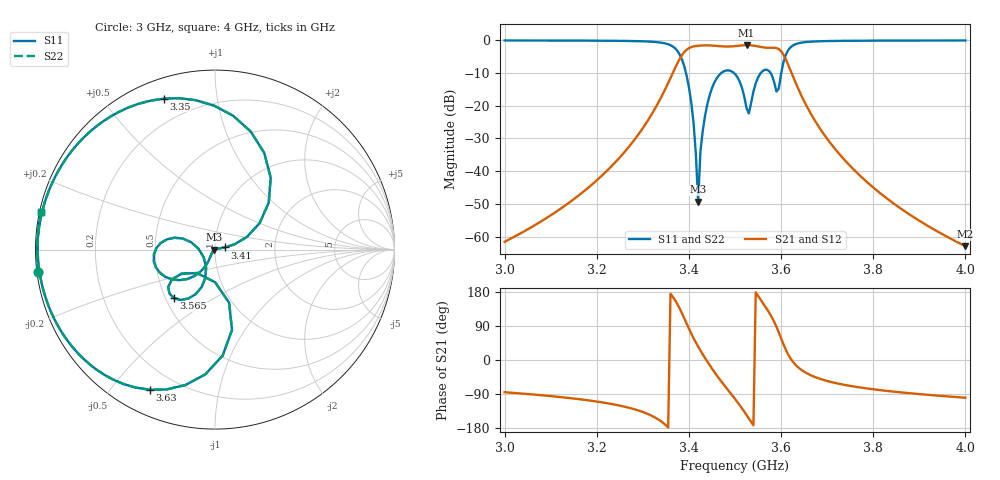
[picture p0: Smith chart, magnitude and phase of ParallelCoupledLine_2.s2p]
! Created Friday, September 24, 2021 9:24:54 PM
# GHz S DB R 50
! 2 Port Network Data from SP1.SP block
! freq  dbS11	angS11	dbS21	angS21	dbS12	angS12	dbS22	angS22
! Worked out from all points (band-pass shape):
!   201 points, 3 GHz to 4 GHz, reference 50 ohm
!   highest |S21| = -1.50 dB at 3.525 GHz (marker M1); lowest = -62.9 dB at 4 GHz (marker M2)
!   |S21| within 3 dB of the highest: 3.385 GHz to 3.605 GHz (220.3 MHz wide, 6.3 % of centre)
!   lowest |S11| = -49.3 dB at 3.42 GHz (marker M3), VSWR 1.01, Z = 49.7 - j0.126 ohm
!   |S11| at or under -10 dB: 3.394 GHz to 3.47 GHz (76.56 MHz wide, 2.23 % of centre); 3.498 GHz to 3.556 GHz (58.54 MHz wide, 1.66 % of centre); 3.577 GHz to 3.6 GHz (23.4 MHz wide, 0.652 % of centre)
!   |S22| runs from -49.3 to -0.1 dB; largest |S21 - S12| = 1.1e-14
!   S11 on the Smith chart (normalised r, x): 3 GHz: 0.00, -0.06; 3.35 GHz: 0.09, +0.71; 3.41 GHz: 1.11, +0.03; 3.565 GHz: 0.55, -0.34; 3.63 GHz: 0.10, -0.63; 4 GHz: 0.00, +0.11
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3  -0.07 -172.7  -61.54 -85.0  -61.54 -85.0  -0.07 -172.7
3.17  -0.12 169.1  -46.35 -104.6  -46.35 -104.6  -0.12 169.1
3.275  -0.24 148.4  -31.61 -127.7  -31.61 -127.7  -0.24 148.4
3.335  -0.65 121.5  -18.69 -158.0  -18.69 -158.0  -0.65 121.5
3.35  -1.03 108.8  -14.53 -172.3  -14.53 -172.3  -1.03 108.8
3.385  -5.91 52.2  -4.53 123.0  -4.53 123.0  -5.91 52.2
3.41  -25.13 12.7  -1.90 57.6  -1.90 57.6  -25.13 12.7
3.42  -49.29 -158.3  -1.69 35.3  -1.69 35.3  -49.29 -158.3
3.425  -33.90 -137.1  -1.63 25.0  -1.63 25.0  -33.90 -137.1
3.445  -16.77 -123.1  -1.59 -13.6  -1.59 -13.6  -16.77 -123.1
3.47  -10.02 -151.2  -1.86 -56.2  -1.86 -56.2  -10.02 -151.2
3.5  -10.30 173.3  -1.81 -102.7  -1.81 -102.7  -10.30 173.3
3.525  -20.69 176.7  -1.50 -144.9  -1.50 -144.9  -20.69 176.7
3.53  -22.34 -145.8  -1.51 -154.0  -1.51 -154.0  -22.34 -145.8
3.545  -13.15 -109.6  -1.76 178.5  -1.76 178.5  -13.15 -109.6
3.565  -9.02 -130.1  -2.24 142.5  -2.24 142.5  -9.02 -130.1
3.59  -15.67 -127.3  -2.40 87.5  -2.40 87.5  -15.67 -127.3
3.605  -6.79 -78.0  -4.37 42.0  -4.37 42.0  -6.79 -78.0
3.63  -1.30 -115.0  -12.48 -10.9  -12.48 -10.9  -1.30 -115.0
3.67  -0.40 -141.9  -23.75 -43.2  -23.75 -43.2  -0.40 -141.9
3.835  -0.11 -176.2  -48.88 -82.3  -48.88 -82.3  -0.11 -176.2
4  -0.08 167.8  -62.87 -99.5  -62.87 -99.5  -0.08 167.8
